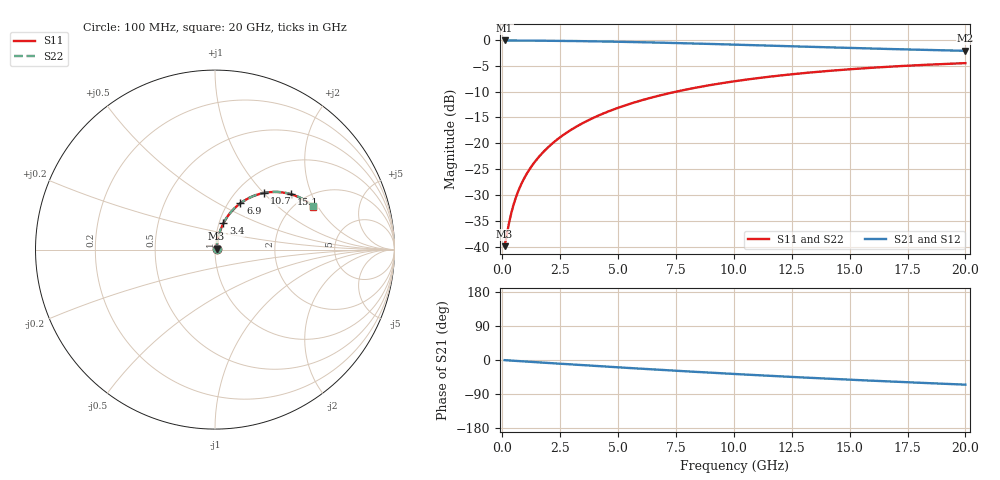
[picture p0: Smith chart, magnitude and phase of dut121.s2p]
! Touchstone file exported from HFSS 2026.1.0
!  File:  C:/ffzhzh/LocalFiles/Ansys_Project_Files/temp_train_BSMRDL_121_1782986039_6248.aedt
!  Generated:  05:55:32 PM Jul  2, 2026
!  Design:  BSMRDL
!  Project:  temp_train_BSMRDL_121_1782986039_6248
! Variables:
!  h_bsmrdl = 2.2um
!  h_ox = 20um
!  h_rdl = 5um
!  h_sub = 80um
!  h_tmrdl = 5um
!  h_tsv = 80um
!  h_via = 3um
!  l_bsmrdl = 989.78um
!  l_sub = 1389.78um
!  l_tmrdl = 200um
!  m_sub = 200um
!  pitch = 52.57um
!  r_tsv = 6um
!  s_tmrdl = 10um
!  w_bsmrdl = 18.27um
!  w_sub = 500um
!  w_tmrdl = 12um
!  x_tsv_center1 = 206um
!  x_tsv_center2 = 1214.05um
!  x_tsv_center3 = 1426.05um
!  x_tsv_center4 = 2434.1um
!  x_tsv_center5 = 2646.1um
!  x_tsv_center6 = 3654.15um
# GHz S MA R 50.000000
! Terminal data exported
! Port[1] = BSM_RDL1_1_T1
! Port[2] = BSM_RDL1_1_T2
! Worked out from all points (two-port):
!   200 points, 100 MHz to 20 GHz, reference 50 ohm
!   highest |S21| = -0.08 dB at 100 MHz (marker M1); lowest = -2.1 dB at 20 GHz (marker M2)
!   |S21| within 3 dB of the highest: start of sweep to end of sweep
!   lowest |S11| = -39.9 dB at 100 MHz (marker M3), VSWR 1.02, Z = 50.9 + j0.498 ohm
!   |S11| at or under -10 dB: start of sweep to 7.503 GHz
!   |S22| runs from -39.9 to -4.5 dB; largest |S21 - S12| = 5.4e-15
!   S11 on the Smith chart (normalised r, x): 100 MHz: 1.02, +0.01; 3.4 GHz: 1.05, +0.31; 6.9 GHz: 1.14, +0.64; 10.7 GHz: 1.32, +1.01; 15.1 GHz: 1.69, +1.44; 20 GHz: 2.46, +1.83
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0.1  0.01009 29.0  0.9912 -0.4  0.9912 -0.4  0.01009 29.0
! Gamma 0 0 0 0
! Port Impedance 50 0 50 0
0.3  0.01732 57.0  0.9908 -1.2  0.9908 -1.2  0.01732 57.0
0.4  0.02163 62.7  0.9905 -1.6  0.9905 -1.6  0.02163 62.7
0.5  0.02604 66.3  0.9901 -2.0  0.9901 -2.0  0.02604 66.3
0.6  0.03048 68.7  0.9897 -2.4  0.9897 -2.4  0.03048 68.7
0.8  0.03937 71.7  0.989 -3.2  0.989 -3.2  0.03936 71.7
1.1  0.05267 73.9  0.988 -4.4  0.988 -4.4  0.05267 73.9
1.6  0.07482 75.1  0.9861 -6.3  0.9861 -6.3  0.07482 75.1
2.1  0.09694 75.0  0.984 -8.3  0.984 -8.3  0.09694 75.0
2.7  0.1233 74.0  0.9808 -10.6  0.9808 -10.6  0.1233 74.0
3.4  0.1537 72.3  0.9764 -13.3  0.9764 -13.3  0.1537 72.3
3.5  0.158 72.0  0.9757 -13.7  0.9757 -13.7  0.158 72.1
5  0.2207 67.5  0.9632 -19.3  0.9632 -19.3  0.2207 67.5
6.8  0.2907 61.6  0.9441 -25.9  0.9441 -25.9  0.2907 61.6
6.9  0.2944 61.2  0.943 -26.2  0.943 -26.2  0.2943 61.3
8.4  0.3472 56.3  0.9246 -31.5  0.9246 -31.5  0.3472 56.4
10.1  0.4011 50.9  0.9024 -37.1  0.9024 -37.1  0.401 51.0
10.7  0.4185 49.0  0.8945 -39.1  0.8945 -39.1  0.4185 49.1
13.4  0.4874 40.9  0.8589 -47.3  0.8589 -47.3  0.4873 41.1
15.1  0.5231 36.2  0.8378 -52.2  0.8378 -52.2  0.523 36.3
16.7  0.5518 31.9  0.8194 -56.6  0.8194 -56.6  0.5517 32.0
20  0.5977 23.5  0.7871 -65.1  0.7871 -65.1  0.5976 23.7
